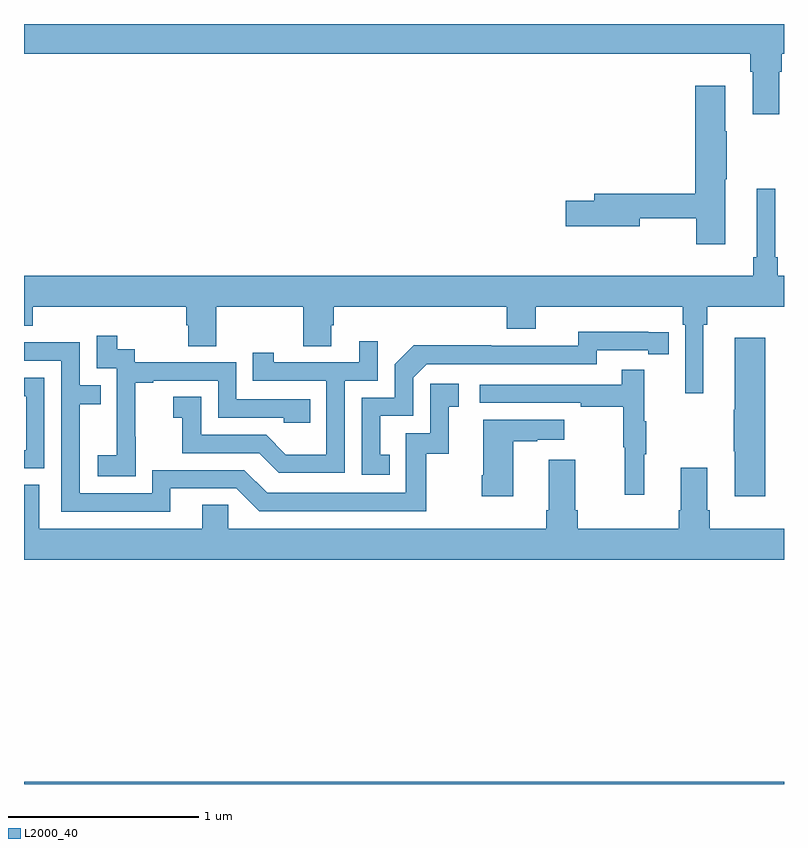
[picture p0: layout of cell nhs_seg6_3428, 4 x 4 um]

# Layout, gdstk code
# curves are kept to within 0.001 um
import gdstk
lib = gdstk.Library(unit=1e-6, precision=1e-09)
def R(c, l, rs):  # rectangles x0, y0, x1, y1
    for r in rs: c.add(gdstk.rectangle(r[:2], r[2:], *l))
def P(c, l, *ps):  # polygons
    for p in ps: c.add(gdstk.Polygon(p, *l))
L2000_40 = (2000, 40)

nhs_seg6_3428 = lib.new_cell('nhs_seg6_3428')
R(nhs_seg6_3428, L2000_40, [(313,935.5,317,935.512)])
P(nhs_seg6_3428, L2000_40, [(316.975,939.248),(316.988,939.248),(316.988,939.344),(317,939.344),(317,939.5),(313,939.5),(313,939.344),(316.823,939.344),(316.823,939.248),(316.835,939.248),(316.835,939.024),(316.975,939.024)],
  [(316.69,938.683),(316.698,938.683),(316.698,938.936),(316.69,938.936),(316.69,939.175),(316.532,939.175),(316.532,938.606),(316.001,938.606),(316.001,938.57),(315.852,938.57),(315.852,938.435),(316.24,938.435),(316.24,938.478),(316.537,938.478),(316.537,938.34),(316.69,938.34)],
  [(316.576,937.916),(316.595,937.916),(316.595,938.012),(317,938.012),(317,938.176),(316.967,938.176),(316.967,938.272),(316.953,938.272),(316.953,938.632),(316.856,938.632),(316.856,938.272),(316.837,938.272),(316.837,938.176),(313,938.176),(313,937.913),(313.046,937.913),(313.046,938.012),(313.853,938.012),(313.853,937.914),(313.865,937.914),(313.865,937.804),(314.013,937.804),(314.013,938.012),(314.47,938.012),(314.47,937.804),(314.617,937.804),(314.617,937.914),(314.63,937.914),(314.63,938.012),(315.542,938.012),(315.542,937.895),(315.694,937.895),(315.694,938.012),(316.466,938.012),(316.466,937.916),(316.479,937.916),(316.479,937.557),(316.576,937.557)],
  [(314.924,937.233),(314.875,937.233),(314.875,937.437),(315.048,937.437),(315.048,937.638),(315.12,937.71),(316.014,937.71),(316.014,937.782),(316.286,937.782),(316.286,937.762),(316.394,937.762),(316.394,937.878),(315.918,937.879),(315.918,937.806),(315.458,937.806),(315.458,937.808),(315.05,937.808),(314.952,937.71),(314.952,937.533),(314.778,937.533),(314.778,937.128),(314.924,937.128)],
  [(313.587,937.327),(313.586,937.327),(313.586,937.611),(313.681,937.611),(313.681,937.623),(314.022,937.623),(314.022,937.428),(314.367,937.428),(314.367,937.401),(314.507,937.401),(314.507,937.524),(314.118,937.524),(314.118,937.719),(313.584,937.719),(313.584,937.788),(313.492,937.788),(313.492,937.858),(313.383,937.858),(313.383,937.689),(313.488,937.689),(313.488,937.46),(313.487,937.46),(313.487,937.231),(313.389,937.231),(313.389,937.121),(313.587,937.121)],
  [(316.901,937.849),(316.742,937.849),(316.742,937.469),(316.735,937.469),(316.735,937.252),(316.742,937.252),(316.742,937.014),(316.901,937.014)],
  [(314.688,937.623),(314.862,937.623),(314.862,937.831),(314.765,937.831),(314.765,937.719),(314.314,937.719),(314.314,937.771),(314.203,937.771),(314.203,937.623),(314.592,937.623),(314.592,937.234),(314.378,937.234),(314.274,937.338),(313.932,937.338),(313.932,937.537),(313.785,937.537),(313.785,937.427),(313.834,937.427),(313.834,937.242),(314.237,937.242),(314.342,937.137),(314.688,937.137)],
  [(313.771,937.056),(314.118,937.056),(314.238,936.936),(315.118,936.936),(315.118,937.239),(315.236,937.239),(315.236,937.485),(315.289,937.485),(315.289,937.606),(315.138,937.606),(315.138,937.347),(315.009,937.347),(315.009,937.032),(314.28,937.032),(314.16,937.152),(313.674,937.152),(313.674,937.029),(313.293,937.029),(313.293,937.498),(313.403,937.498),(313.403,937.599),(313.293,937.599),(313.293,937.824),(313,937.824),(313,937.728),(313.197,937.728),(313.197,936.933),(313.771,936.933)],
  [(316.265,937.235),(316.276,937.235),(316.276,937.409),(316.265,937.409),(316.265,937.681),(316.147,937.681),(316.147,937.602),(315.399,937.602),(315.399,937.506),(315.931,937.506),(315.931,937.486),(316.155,937.486),(316.155,937.272),(316.162,937.272),(316.162,937.023),(316.265,937.023)],
  [(313.107,937.638),(313,937.638),(313,937.542),(313.011,937.542),(313.011,937.257),(313,937.257),(313,937.161),(313.107,937.161)],
  [(315.574,937.303),(315.701,937.303),(315.701,937.313),(315.844,937.313),(315.844,937.417),(315.416,937.417),(315.416,937.126),(315.409,937.126),(315.409,937.014),(315.574,937.014)],
  [(317,936.844),(316.61,936.844),(316.61,936.94),(316.597,936.94),(316.597,937.165),(316.457,937.165),(316.457,936.94),(316.445,936.94),(316.445,936.844),(315.914,936.844),(315.914,936.94),(315.901,936.94),(315.901,937.207),(315.761,937.207),(315.761,936.94),(315.749,936.94),(315.749,936.844),(314.076,936.844),(314.076,936.971),(313.937,936.971),(313.937,936.844),(313.081,936.844),(313.081,937.076),(313,937.076),(313,936.68),(317,936.68)])

lib.write_gds('nhs_seg6_3428.gds')
